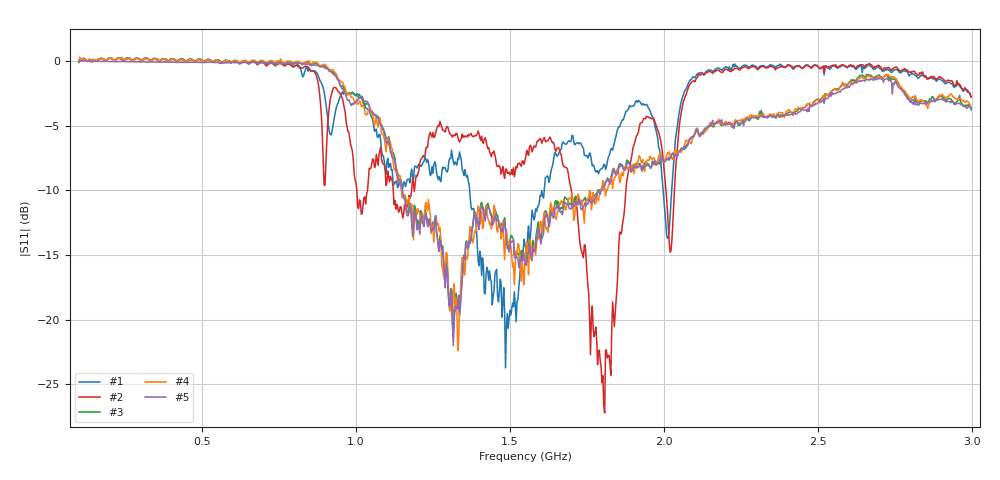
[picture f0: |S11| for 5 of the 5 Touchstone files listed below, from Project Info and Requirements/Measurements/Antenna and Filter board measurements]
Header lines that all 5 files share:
# HZ S RI R 50
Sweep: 100 MHz to 2.997 GHz
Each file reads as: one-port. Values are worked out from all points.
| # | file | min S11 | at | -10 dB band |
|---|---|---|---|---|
| 1 | antennaplusrfboard_minus65psporextension_no2inchcableusedmaletomaleadapter.s1p | -23.7 dB | 1.485 GHz | 242.3 MHz wide |
| 2 | antennaplusrfboard_minus65psportextension.s1p | -27.2 dB | 1.807 GHz | 177.1 MHz wide |
| 3 | antennaplustwoinchcoaxialcable_minus65portexension.s1p | -21.4 dB | 1.316 GHz | 634.5 MHz wide |
| 4 | antennaplustwoinchcoaxialcable_noportexension.s1p | -22.4 dB | 1.33 GHz | 646.4 MHz wide |
| 5 | antennaplustwoinchcoaxialcable_noportexensionandnoVNAcable.s1p | -22.0 dB | 1.316 GHz | 648.2 MHz wide |
